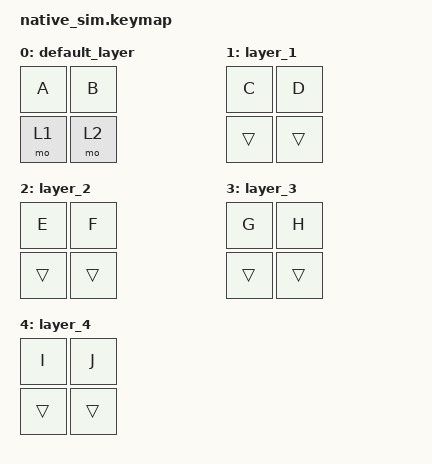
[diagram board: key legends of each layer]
#include <behaviors.dtsi>
#include <dt-bindings/zmk/keys.h>
#include <dt-bindings/zmk/input_mock.h>

/ {
    conditional_layers {
        compatible = "zmk,conditional-layers";
        conditional_layer_1 {
            if-layers = <1 2>;
            then-layer = <3>;
        };
        conditional_layer_2 {
            if-layers = <1 3>;
            then-layer = <4>;
        };
    };

    keymap {
        compatible = "zmk,keymap";
        default_layer {
            bindings = <
                &kp A &kp B
                &mo 1 &mo 2
            >;
        };
        layer_1 {
            bindings = <
                &kp C &kp D
                &trans &trans
            >;
        };
        layer_2 {
            bindings = <
                &kp E &kp F
                &trans &trans
            >;
        };
        layer_3 {
            bindings = <
                &kp G &kp H
                &trans &trans
            >;
        };
        layer_4 {
            bindings = <
                &kp I &kp J
                &trans &trans
            >;
        };
    };
};

&mock_input {
    events = <
        ZMK_INPUT_MOCK_PRESS(1,0,10)
        ZMK_INPUT_MOCK_PRESS(1,1,10)
        ZMK_INPUT_MOCK_PRESS(0,0,10)
        ZMK_INPUT_MOCK_RELEASE(0,0,10)
        ZMK_INPUT_MOCK_RELEASE(1,1,10)
        ZMK_INPUT_MOCK_RELEASE(1,0,10)
    >;
};
